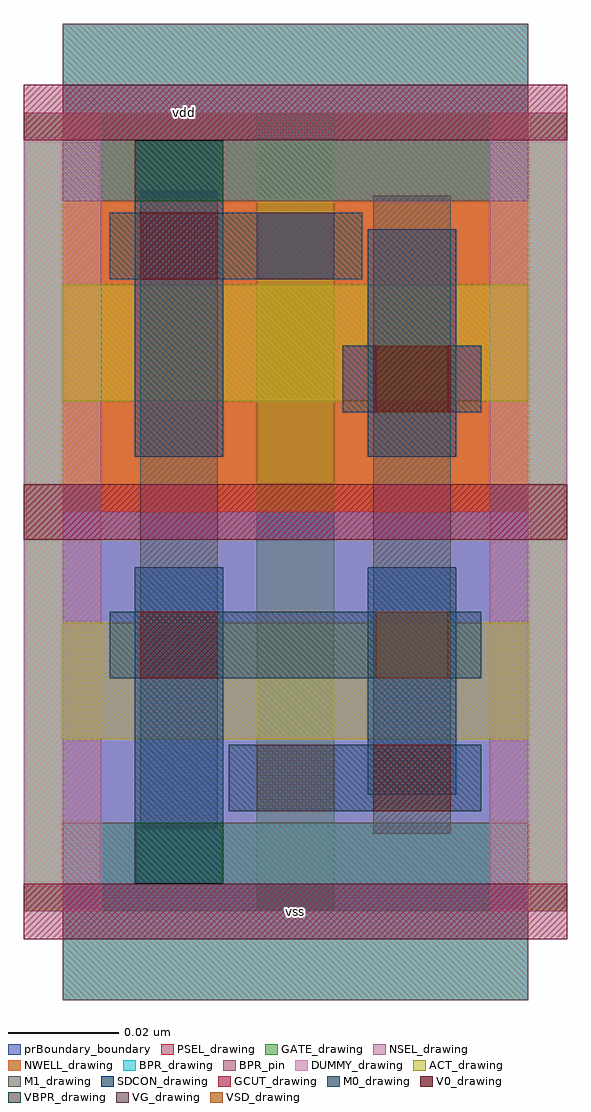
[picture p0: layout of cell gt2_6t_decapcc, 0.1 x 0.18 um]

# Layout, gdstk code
import gdstk
lib = gdstk.Library(unit=1e-6, precision=5e-10)
def R(c, l, rs):  # rectangles x0, y0, x1, y1
    for r in rs: c.add(gdstk.rectangle(r[:2], r[2:], *l))
def A(c, l, x, y, w, h, nx, ny, dx, dy):  # array of equal rectangles
    R(c, l, [(x+i*dx, y+j*dy, x+i*dx+w, y+j*dy+h) for i in range(nx) for j in range(ny)])
NWELL_drawing = (1, 0)
ACT_drawing = (2, 0)
GATE_drawing = (3, 0)
DUMMY_drawing = (4, 0)
GCUT_drawing = (5, 0)
NSEL_drawing = (6, 0)
PSEL_drawing = (7, 0)
BPR_drawing = (8, 0)
BPR_pin = (8, 251)
VBPR_drawing = (9, 0)
SDCON_drawing = (10, 0)
VSD_drawing = (11, 0)
VG_drawing = (12, 0)
M0_drawing = (20, 0)
V0_drawing = (22, 0)
M1_drawing = (25, 0)
prBoundary_boundary = (235, 250)

gt2_6t_decapcc = lib.new_cell('gt2_6t_decapcc')
R(gt2_6t_decapcc, NWELL_drawing, [(0,0.072,0.084,0.144)])
R(gt2_6t_decapcc, ACT_drawing, [(0,0.031,0.084,0.052), (0,0.092,0.084,0.113)])
A(gt2_6t_decapcc, GATE_drawing, -0.007, 0, 0.014, 0.144, 3, 1, 0.042, 0)
R(gt2_6t_decapcc, DUMMY_drawing, [(-0.007,0,0.007,0.144), (0.077,0,0.091,0.144)])
A(gt2_6t_decapcc, GCUT_drawing, -0.007, -0.005, 0.098, 0.01, 1, 3, 0, 0.072)
R(gt2_6t_decapcc, NSEL_drawing, [(0,0,0.084,0.072)])
R(gt2_6t_decapcc, PSEL_drawing, [(0,0.072,0.084,0.144)])
R(gt2_6t_decapcc, BPR_drawing, [(0,-0.016,0.084,0.016), (0,0.128,0.084,0.16)])
R(gt2_6t_decapcc, BPR_pin, [(0,-0.016,0.084,0.016), (0,0.128,0.084,0.16)])
R(gt2_6t_decapcc, VBPR_drawing, [(0.013,0.005,0.029,0.016), (0.013,0.128,0.029,0.139)])
R(gt2_6t_decapcc, SDCON_drawing, [(0.013,0.005,0.029,0.062), (0.055,0.021,0.071,0.062), (0.013,0.082,0.029,0.139), (0.055,0.082,0.071,0.123)])
R(gt2_6t_decapcc, VSD_drawing, [(0.0565,0.042,0.0695,0.054), (0.0565,0.09,0.0695,0.102)])
R(gt2_6t_decapcc, VG_drawing, [(0.035,0.018,0.049,0.03), (0.035,0.114,0.049,0.126)])
R(gt2_6t_decapcc, M0_drawing, [(0.03,0.018,0.0755,0.03), (0.0085,0.042,0.0755,0.054), (0.0505,0.09,0.0755,0.102), (0.0085,0.114,0.054,0.126)])
R(gt2_6t_decapcc, V0_drawing, [(0.056,0.018,0.07,0.03), (0.014,0.042,0.028,0.054), (0.056,0.09,0.07,0.102), (0.014,0.114,0.028,0.126)])
R(gt2_6t_decapcc, M1_drawing, [(0.056,0.014,0.07,0.129), (0.014,0.015,0.028,0.13)])
R(gt2_6t_decapcc, prBoundary_boundary, [(0,0,0.084,0.144)])
gt2_6t_decapcc.add(gdstk.Label('vss', (0.042,0), layer=8, texttype=251))
gt2_6t_decapcc.add(gdstk.Label('vdd', (0.022,0.144), layer=8, texttype=251))

lib.write_gds('gt2_6t_decapcc.gds')
